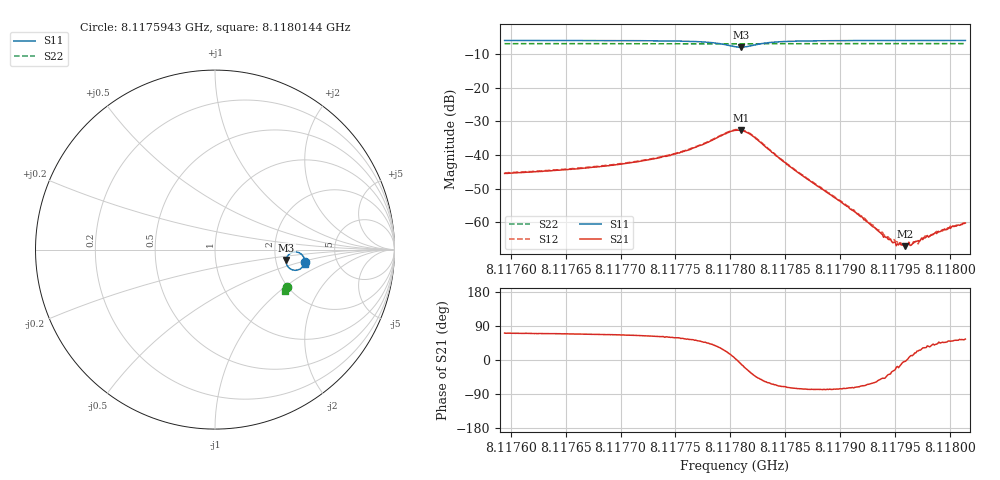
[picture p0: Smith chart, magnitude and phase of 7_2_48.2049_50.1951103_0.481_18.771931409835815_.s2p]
#  HZ  S  RI  R  50.00
! Rohde & Schwarz Vector Network Analyzer
! Rohde-Schwarz,ZNB20-2Port,1311601062101988,3.16
! Created: UTC 3/20/2024, 11:36:17 AM
! freq[Hz]  re:S11  im:S11  re:S21  im:S21  re:S12  im:S12  re:S22  im:S22
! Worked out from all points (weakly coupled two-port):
!   401 points, 8.1175943 GHz to 8.1180144 GHz, reference 50 ohm
!   highest |S21| = -32.63 dB at 8.1178096 GHz (marker M1); lowest = -67.1 dB at 8.1179598 GHz (marker M2)
!   lowest |S11| = -7.9 dB at 8.1178096 GHz (marker M3), VSWR 2.34, Z = 114 - j15.6 ohm
!   |S11| at or under -10 dB: nowhere
!   |S22| runs from -7.0 to -6.9 dB; largest |S21 - S12| = 0.00072
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8.11759435e9  0.5005 -0.067  0.00173 0.00503  0.00183 0.00509  0.4017 -0.2081
8.1176647e9  0.4978 -0.0766  0.00235 0.00588  0.00246 0.00597  0.3994 -0.2128
8.11770356e9  0.4951 -0.0842  0.00305 0.00678  0.00316 0.00688  0.3981 -0.2155
8.11773506e9  0.4902 -0.0929  0.00427 0.008  0.00441 0.00813  0.3967 -0.2176
8.11776236e9  0.4789 -0.1047  0.00696 0.00964  0.0071 0.00989  0.3954 -0.2196
8.11779071e9  0.4374 -0.1144  0.0161 0.0102  0.0165 0.0102  0.3925 -0.2214
8.11780436e9  0.3995 -0.0829  0.0232 0.00179  0.0237 0.00165  0.3907 -0.2202
8.11780961e9  0.3965 -0.0572  0.023 -0.00396  0.0234 -0.0042  0.3908 -0.2193
8.11782011e9  0.425 -0.0179  0.0155 -0.0115  0.0158 -0.0119  0.3922 -0.2185
8.11784112e9  0.478 -0.0228  0.00413 -0.00899  0.00411 -0.00939  0.394 -0.2206
8.11787472e9  0.496 -0.047  0.000866 -0.00383  0.000794 -0.00391  0.3934 -0.2239
8.11791462e9  0.4991 -0.0612  0.000437 -0.00132  0.000473 -0.00135  0.3923 -0.2269
8.11793982e9  0.4994 -0.0667  0.000399 -0.000446  0.000432 -0.000494  0.3914 -0.2286
8.11794507e9  0.4994 -0.0678  0.000438 -0.000337  0.000437 -0.00037  0.391 -0.229
8.11795137e9  0.4995 -0.0688  0.000421 -0.000148  0.00046 -0.000245  0.3909 -0.2295
8.11795977e9  0.4995 -0.0703  0.00044 -2.49e-05  0.000463 1.08e-05  0.3905 -0.2301
8.11796607e9  0.4995 -0.0713  0.000468 9.56e-05  0.000463 0.000123  0.3904 -0.2304
8.11797238e9  0.4994 -0.0722  0.000467 0.000228  0.000484 0.000203  0.3901 -0.231
8.11797763e9  0.4994 -0.0731  0.000493 0.000314  0.00054 0.000312  0.39 -0.2311
8.11798393e9  0.4993 -0.074  0.000496 0.000414  0.000502 0.000423  0.3898 -0.2316
8.11798918e9  0.4993 -0.0747  0.000524 0.000498  0.000523 0.000468  0.3898 -0.2319
8.11801438e9  0.499 -0.078  0.000556 0.000801  0.000608 0.000791  0.3887 -0.2334
